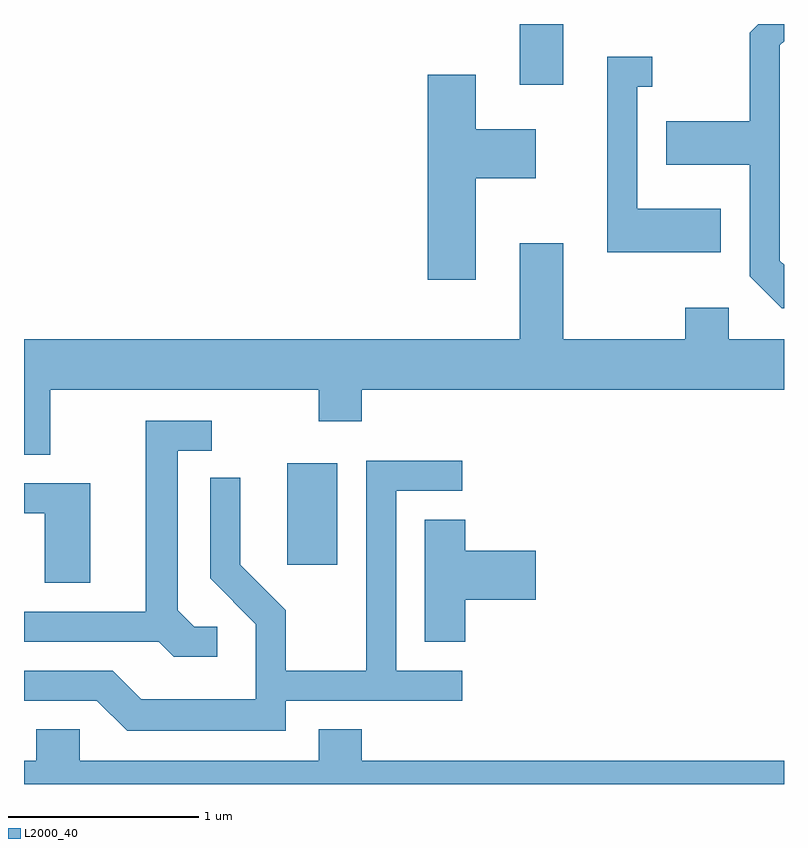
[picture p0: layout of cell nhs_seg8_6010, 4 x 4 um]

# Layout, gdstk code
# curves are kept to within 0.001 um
import gdstk
lib = gdstk.Library(unit=1e-6, precision=1e-09)
def R(c, l, rs):  # rectangles x0, y0, x1, y1
    for r in rs: c.add(gdstk.rectangle(r[:2], r[2:], *l))
def P(c, l, *ps):  # polygons
    for p in ps: c.add(gdstk.Polygon(p, *l))
L2000_40 = (2000, 40)

nhs_seg8_6010 = lib.new_cell('nhs_seg8_6010')
R(nhs_seg8_6010, L2000_40, [(366.996,1835.496,367.259,1836.029), (368.221,1838.021,368.449,1838.342)])
P(nhs_seg8_6010, L2000_40, [(369.611,1837.075),(369.589,1837.097),(369.589,1838.229),(369.611,1838.251),(369.611,1838.342),(369.476,1838.342),(369.431,1838.297),(369.431,1837.829),(368.991,1837.829),(368.991,1837.601),(369.431,1837.601),(369.431,1837.014),(369.599,1836.846),(369.611,1836.846)],
  [(369.279,1837.369),(368.839,1837.369),(368.839,1838.011),(368.918,1838.011),(368.918,1838.169),(368.681,1838.169),(368.681,1837.141),(369.279,1837.141)],
  [(367.989,1837.531),(368.304,1837.531),(368.304,1837.789),(367.989,1837.789),(367.989,1838.074),(367.736,1838.074),(367.736,1836.996),(367.989,1836.996)],
  [(365.749,1836.416),(367.161,1836.416),(367.161,1836.251),(367.389,1836.251),(367.389,1836.416),(369.611,1836.416),(369.611,1836.684),(369.319,1836.684),(369.319,1836.849),(369.091,1836.849),(369.091,1836.684),(368.449,1836.684),(368.449,1837.189),(368.221,1837.189),(368.221,1836.684),(365.611,1836.684),(365.611,1836.076),(365.749,1836.076)],
  [(366.628,1835.169),(366.507,1835.169),(366.419,1835.257),(366.419,1836.096),(366.598,1836.096),(366.598,1836.254),(366.251,1836.254),(366.251,1835.249),(365.611,1835.249),(365.611,1835.091),(366.319,1835.091),(366.399,1835.011),(366.628,1835.011)],
  [(366.989,1834.781),(367.918,1834.781),(367.918,1834.939),(367.569,1834.939),(367.569,1835.886),(367.918,1835.886),(367.918,1836.044),(367.411,1836.044),(367.411,1834.939),(366.989,1834.939),(366.989,1835.257),(366.749,1835.497),(366.749,1835.953),(366.591,1835.953),(366.591,1835.424),(366.831,1835.184),(366.831,1834.789),(366.227,1834.789),(366.077,1834.939),(365.611,1834.939),(365.611,1834.78),(365.994,1834.781),(366.154,1834.621),(366.989,1834.621)],
  [(365.959,1835.924),(365.611,1835.924),(365.611,1835.766),(365.721,1835.766),(365.721,1835.401),(365.959,1835.401)],
  [(367.934,1835.311),(368.304,1835.311),(368.304,1835.569),(367.934,1835.569),(367.934,1835.734),(367.721,1835.734),(367.721,1835.091),(367.934,1835.091)],
  [(369.611,1834.464),(367.389,1834.464),(367.389,1834.629),(367.161,1834.629),(367.161,1834.464),(365.904,1834.464),(365.904,1834.629),(365.676,1834.629),(365.676,1834.464),(365.611,1834.464),(365.611,1834.342),(369.611,1834.342)])

lib.write_gds('nhs_seg8_6010.gds')
